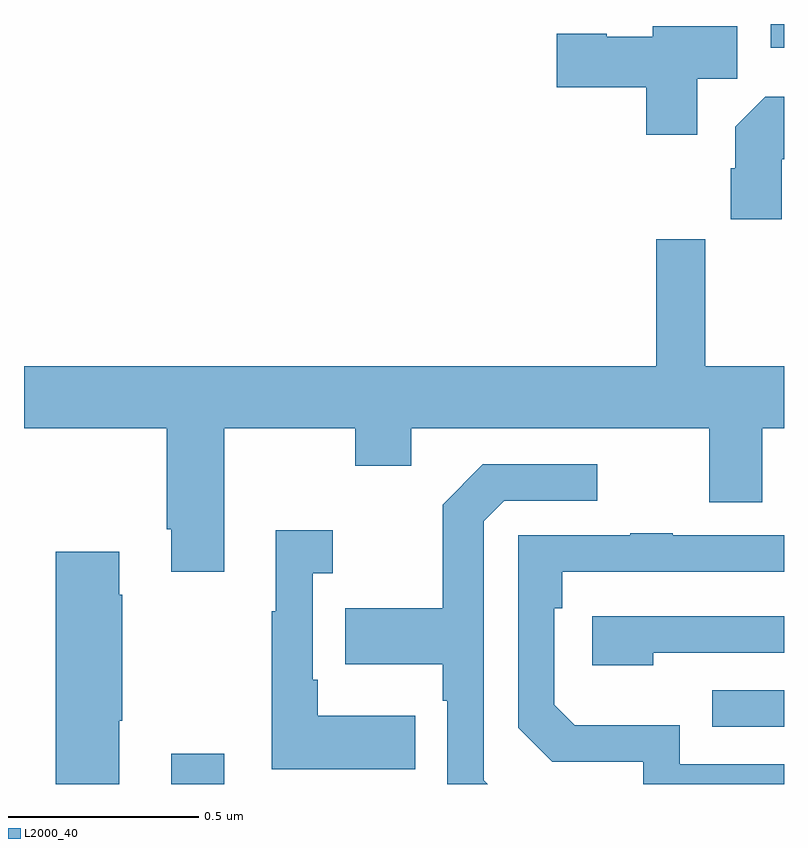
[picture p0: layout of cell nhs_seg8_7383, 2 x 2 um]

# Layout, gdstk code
import gdstk
lib = gdstk.Library(unit=1e-6, precision=1e-09)
def R(c, l, rs):  # rectangles x0, y0, x1, y1
    for r in rs: c.add(gdstk.rectangle(r[:2], r[2:], *l))
def P(c, l, *ps):  # polygons
    for p in ps: c.add(gdstk.Polygon(p, *l))
L2000_40 = (2000, 40)

nhs_seg8_7383 = lib.new_cell('nhs_seg8_7383')
R(nhs_seg8_7383, L2000_40, [(209.387,1112.9,209.527,1112.98), (210.811,1113.051,211,1113.147), (210.965,1114.838,211,1114.9)])
P(nhs_seg8_7383, L2000_40, [(210.772,1114.756),(210.877,1114.756),(210.877,1114.894),(210.654,1114.894),(210.654,1114.867),(210.534,1114.867),(210.534,1114.875),(210.402,1114.875),(210.402,1114.733),(210.638,1114.733),(210.638,1114.608),(210.772,1114.608)],
  [(210.994,1114.544),(211,1114.544),(211,1114.708),(210.95,1114.708),(210.872,1114.63),(210.872,1114.52),(210.86,1114.52),(210.86,1114.386),(210.994,1114.386)],
  [(209.527,1113.836),(209.872,1113.836),(209.872,1113.737),(210.019,1113.737),(210.019,1113.836),(210.803,1113.836),(210.803,1113.642),(210.943,1113.642),(210.943,1113.836),(211,1113.836),(211,1114),(210.793,1114),(210.793,1114.333),(210.664,1114.333),(210.664,1114),(209,1114),(209,1113.836),(209.375,1113.836),(209.375,1113.571),(209.387,1113.571),(209.387,1113.459),(209.527,1113.459)],
  [(210.21,1112.91),(210.21,1113.591),(210.264,1113.645),(210.508,1113.645),(210.508,1113.741),(210.207,1113.741),(210.102,1113.635),(210.102,1113.363),(209.845,1113.363),(209.845,1113.215),(210.102,1113.215),(210.102,1113.119),(210.114,1113.119),(210.114,1112.9),(210.22,1112.9)],
  [(210.029,1113.079),(209.773,1113.079),(209.773,1113.175),(209.76,1113.175),(209.76,1113.455),(209.812,1113.455),(209.812,1113.568),(209.663,1113.568),(209.663,1113.355),(209.652,1113.355),(209.652,1112.939),(210.029,1112.939)],
  [(211,1112.952),(210.726,1112.952),(210.726,1113.055),(210.449,1113.055),(210.396,1113.108),(210.396,1113.362),(210.416,1113.362),(210.416,1113.459),(211,1113.459),(211,1113.555),(210.707,1113.555),(210.707,1113.56),(210.595,1113.56),(210.595,1113.555),(210.3,1113.555),(210.3,1113.048),(210.39,1112.958),(210.63,1112.958),(210.63,1112.9),(211,1112.9)],
  [(209.251,1113.067),(209.259,1113.067),(209.259,1113.398),(209.251,1113.398),(209.251,1113.511),(209.084,1113.511),(209.084,1112.9),(209.251,1112.9)],
  [(210.656,1113.246),(211,1113.246),(211,1113.342),(210.495,1113.342),(210.495,1113.212),(210.656,1113.212)])

lib.write_gds('nhs_seg8_7383.gds')
